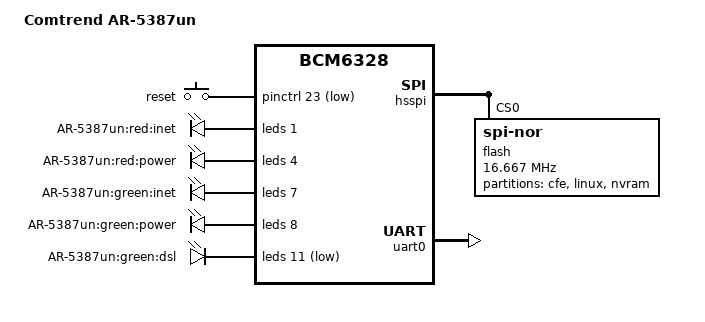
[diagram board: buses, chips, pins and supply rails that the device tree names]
/dts-v1/;

#include "bcm6328.dtsi"

#include <dt-bindings/input/input.h>

/ {
	model = "Comtrend AR-5387un";
	compatible = "comtrend,ar-5387un", "brcm,bcm6328";

	aliases {
		led-boot = &led_power_green;
		led-failsafe = &led_power_green;
		led-running = &led_power_green;
		led-upgrade = &led_power_green;
	};

	chosen {
		bootargs = "rootfstype=squashfs,jffs2 noinitrd console=ttyS0,115200";
		stdout-path = "serial0:115200n8";
	};

	keys {
		compatible = "gpio-keys-polled";
		#address-cells = <1>;
		#size-cells = <0>;
		poll-interval = <20>;

		reset {
			label = "reset";
			gpios = <&pinctrl 23 1>;
			linux,code = <KEY_RESTART>;
			debounce-interval = <60>;
		};
	};
};

&hsspi {
	status = "okay";

	flash@0 {
		compatible = "jedec,spi-nor";
		spi-max-frequency = <16666667>;
		spi-tx-bus-width = <2>;
		spi-rx-bus-width = <2>;
		reg = <0>;

		#address-cells = <1>;
		#size-cells = <1>;

		partitions {
			compatible = "fixed-partitions";
			#address-cells = <1>;
			#size-cells = <1>;

			cfe@0 {
				reg = <0x000000 0x010000>;
				label = "cfe";
				read-only;
			};

			linux@10000 {
				reg = <0x010000 0xfe0000>;
				label = "linux";
				compatible = "brcm,bcm963xx-imagetag";
			};

			nvram@ff0000 {
				reg = <0xff0000 0x010000>;
				label = "nvram";
			};
		};
	};
};

&leds {
	status = "okay";

	pinctrl-names = "default";
	pinctrl-0 = <&pinctrl_leds>;

	led@1 {
		reg = <1>;
		label = "AR-5387un:red:inet";
	};

	led@4 {
		reg = <4>;
		label = "AR-5387un:red:power";
	};

	led@7 {
		reg = <7>;
		label = "AR-5387un:green:inet";
	};

	led_power_green: led@8 {
		reg = <8>;
		label = "AR-5387un:green:power";
		default-state = "on";
	};

	led@11 {
		reg = <11>;
		active-low;
		label = "AR-5387un:green:dsl";
	};
};

&pinctrl {
	pinctrl_leds: leds {
		function = "led";
		pins = "gpio1", "gpio4", "gpio7",
		       "gpio8", "gpio11";
	};
};

&uart0 {
	status = "okay";
};
